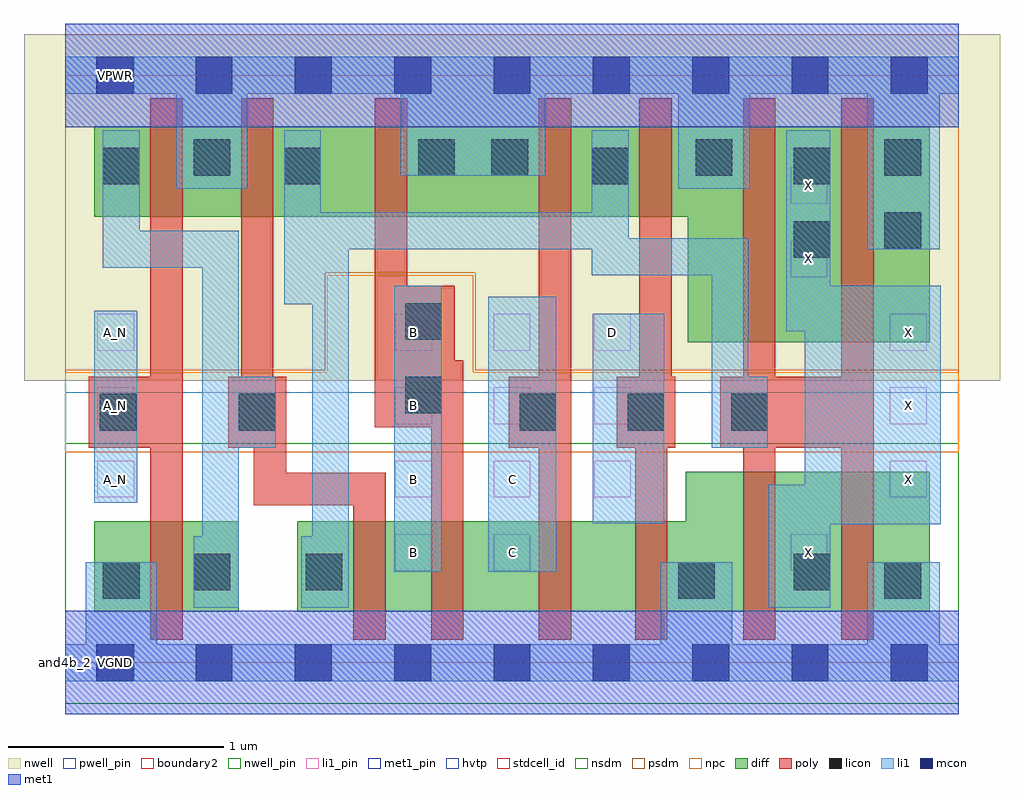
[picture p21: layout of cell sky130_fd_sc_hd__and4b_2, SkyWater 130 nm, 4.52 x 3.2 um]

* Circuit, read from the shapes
.subckt sky130_fd_sc_hd__and4b_2 A_N B C D VGND VNB VPB VPWR X
XM1 n1 A_N VGND VNB sky130_fd_pr__nfet_01v8 w=0.42 l=0.15
XM2 n2 n1 n3 VNB sky130_fd_pr__nfet_01v8 w=0.42 l=0.15
XM3 n4 B n2 VNB sky130_fd_pr__nfet_01v8 w=0.42 l=0.15
XM4 n5 C n4 VNB sky130_fd_pr__nfet_01v8 w=0.42 l=0.15
XM5 VGND D n5 VNB sky130_fd_pr__nfet_01v8 w=0.42 l=0.15
XM6 X n3 VGND VNB sky130_fd_pr__nfet_01v8 w=0.65 l=0.15 m=2
XM7 VPWR A_N n1 VPB sky130_fd_pr__pfet_01v8_hvt w=0.42 l=0.15
XM8 n3 n1 VPWR VPB sky130_fd_pr__pfet_01v8_hvt w=0.42 l=0.15
XM9 VPWR B n3 VPB sky130_fd_pr__pfet_01v8_hvt w=0.42 l=0.15
XM10 n3 C VPWR VPB sky130_fd_pr__pfet_01v8_hvt w=0.42 l=0.15
XM11 VPWR D n3 VPB sky130_fd_pr__pfet_01v8_hvt w=0.42 l=0.15
XM12 X n3 VPWR VPB sky130_fd_pr__pfet_01v8_hvt w=1 l=0.15 m=2
.ends

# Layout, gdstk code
import gdstk
lib = gdstk.Library(unit=1e-6, precision=1e-09)
def R(c, l, rs):  # rectangles x0, y0, x1, y1
    for r in rs: c.add(gdstk.rectangle(r[:2], r[2:], *l))
def A(c, l, x, y, w, h, nx, ny, dx, dy):  # array of equal rectangles
    R(c, l, [(x+i*dx, y+j*dy, x+i*dx+w, y+j*dy+h) for i in range(nx) for j in range(ny)])
def P(c, l, *ps):  # polygons
    for p in ps: c.add(gdstk.Polygon(p, *l))
nwell_pin = (64, 16)
nwell = (64, 20)
diff = (65, 20)
poly = (66, 20)
licon = (66, 44)
li1_pin = (67, 16)
li1 = (67, 20)
mcon = (67, 44)
met1_pin = (68, 16)
met1 = (68, 20)
hvtp = (78, 44)
stdcell_id = (81, 4)
nsdm = (93, 44)
psdm = (94, 20)
npc = (95, 20)
pwell_pin = (122, 16)
boundary2 = (236, 0)

sky130_fd_sc_hd__and4b_2 = lib.new_cell('sky130_fd_sc_hd__and4b_2')
R(sky130_fd_sc_hd__and4b_2, nwell_pin, [(0.15,2.635,0.32,2.805)])
R(sky130_fd_sc_hd__and4b_2, nwell, [(-0.19,1.305,4.33,2.91)])
R(sky130_fd_sc_hd__and4b_2, diff, [(0.135,0.235,0.805,0.655)])
P(sky130_fd_sc_hd__and4b_2, diff, [(2.885,1.485),(2.885,2.065),(0.135,2.065),(0.135,2.485),(4.005,2.485),(4.005,1.485)],
  [(1.075,0.235),(1.075,0.655),(2.875,0.655),(2.875,0.885),(4.005,0.885),(4.005,0.235)])
P(sky130_fd_sc_hd__and4b_2, poly, [(1.695,0.105),(1.695,1.09),(1.435,1.09),(1.435,2.615),(1.585,2.615),(1.585,1.745),(1.805,1.745),(1.805,1.4),(1.845,1.4),(1.845,0.105)],
  [(2.195,0.105),(2.195,0.995),(2.055,0.995),(2.055,1.325),(2.195,1.325),(2.195,2.615),(2.345,2.615),(2.345,0.105)],
  [(2.64,0.105),(2.64,0.995),(2.555,0.995),(2.555,1.325),(2.66,1.325),(2.66,2.615),(2.81,2.615),(2.81,1.325),(2.825,1.325),(2.825,0.995),(2.79,0.995),(2.79,0.105)],
  [(3.14,0.105),(3.14,0.995),(3.035,0.995),(3.035,1.325),(3.14,1.325),(3.14,2.615),(3.29,2.615),(3.29,1.325),(3.595,1.325),(3.595,2.615),(3.745,2.615),(3.745,0.105),(3.595,0.105),(3.595,0.995),(3.29,0.995),(3.29,0.105)],
  [(0.395,0.105),(0.395,0.995),(0.11,0.995),(0.11,1.325),(0.395,1.325),(0.395,2.615),(0.545,2.615),(0.545,0.105)],
  [(1.335,0.105),(1.335,0.73),(0.875,0.73),(0.875,0.995),(0.755,0.995),(0.755,1.325),(0.815,1.325),(0.815,2.615),(0.965,2.615),(0.965,1.325),(1.025,1.325),(1.025,0.88),(1.485,0.88),(1.485,0.105)])
R(sky130_fd_sc_hd__and4b_2, licon, [(0.175,0.295,0.345,0.465), (2.84,0.295,3.01,0.465), (3.795,0.295,3.965,0.465), (0.595,0.335,0.765,0.505), (1.115,0.335,1.285,0.505), (3.375,0.335,3.545,0.505), (0.16,1.075,0.33,1.245), (0.805,1.075,0.975,1.245), (2.105,1.075,2.275,1.245), (2.605,1.075,2.775,1.245), (3.085,1.075,3.255,1.245), (1.575,1.155,1.745,1.325), (1.575,1.495,1.745,1.665), (3.375,1.875,3.545,2.045), (3.795,1.915,3.965,2.085), (0.175,2.215,0.345,2.385), (1.015,2.215,1.185,2.385), (2.44,2.215,2.61,2.385), (3.375,2.215,3.545,2.385), (0.595,2.255,0.765,2.425), (1.635,2.255,1.805,2.425), (1.975,2.255,2.145,2.425), (2.92,2.255,3.09,2.425), (3.795,2.255,3.965,2.425)])
A(sky130_fd_sc_hd__and4b_2, li1_pin, 1.53, 0.425, 0.17, 0.17, 1, 4, 0, 0.34)
A(sky130_fd_sc_hd__and4b_2, li1_pin, 1.985, 0.425, 0.17, 0.17, 1, 4, 0, 0.34)
A(sky130_fd_sc_hd__and4b_2, li1_pin, 0.15, 0.765, 0.17, 0.17, 1, 3, 0, 0.34)
A(sky130_fd_sc_hd__and4b_2, li1_pin, 2.45, 0.765, 0.17, 0.17, 1, 3, 0, 0.34)
A(sky130_fd_sc_hd__and4b_2, li1_pin, 3.82, 0.765, 0.17, 0.17, 1, 3, 0, 0.34)
R(sky130_fd_sc_hd__and4b_2, li1_pin, [(3.36,0.425,3.53,0.595), (3.36,1.785,3.53,1.955), (3.36,2.125,3.53,2.295)])
R(sky130_fd_sc_hd__and4b_2, li1, [(1.525,0.42,1.745,1.745), (1.96,0.42,2.275,1.695), (2.445,0.645,2.775,1.615), (0.135,0.74,0.335,1.63)])
P(sky130_fd_sc_hd__and4b_2, li1, [(1.095,0.255),(1.095,0.585),(1.145,0.585),(1.145,1.66),(1.015,1.66),(1.015,2.465),(1.185,2.465),(1.185,2.085),(2.44,2.085),(2.44,2.465),(2.61,2.465),(2.61,1.965),(3.165,1.965),(3.165,1.325),(3.255,1.325),(3.255,0.995),(2.995,0.995),(2.995,1.795),(2.44,1.795),(2.44,1.915),(1.315,1.915),(1.315,0.255)],
  [(3.26,0.255),(3.26,0.825),(3.425,0.825),(3.425,1.535),(3.34,1.535),(3.34,2.465),(3.545,2.465),(3.545,1.745),(4.055,1.745),(4.055,0.64),(3.545,0.64),(3.545,0.255)],
  [(3.715,1.915),(3.715,2.635),(3.17,2.635),(3.17,2.195),(2.84,2.195),(2.84,2.635),(2.225,2.635),(2.225,2.255),(1.555,2.255),(1.555,2.635),(0.845,2.635),(0.845,2.195),(0.515,2.195),(0.515,2.635),(0,2.635),(0,2.805),(4.14,2.805),(4.14,2.635),(4.05,2.635),(4.05,1.915)],
  [(0.595,0.255),(0.595,0.585),(0.635,0.585),(0.635,1.83),(0.175,1.83),(0.175,2.465),(0.345,2.465),(0.345,2),(0.805,2),(0.805,1.325),(0.975,1.325),(0.975,0.995),(0.805,0.995),(0.805,0.255)],
  [(0,-0.085),(0,0.085),(0.095,0.085),(0.095,0.465),(0.425,0.465),(0.425,0.085),(2.76,0.085),(2.76,0.465),(3.09,0.465),(3.09,0.085),(3.715,0.085),(3.715,0.465),(4.05,0.465),(4.05,0.085),(4.14,0.085),(4.14,-0.085)])
A(sky130_fd_sc_hd__and4b_2, mcon, 0.145, -0.085, 0.17, 0.17, 9, 2, 0.46, 2.72)
R(sky130_fd_sc_hd__and4b_2, met1_pin, [(0.15,-0.085,0.32,0.085), (0.15,2.635,0.32,2.805)])
R(sky130_fd_sc_hd__and4b_2, hvtp, [(0,1.25,4.14,2.72)])
R(sky130_fd_sc_hd__and4b_2, stdcell_id, [(0,0,4.14,2.72)])
R(sky130_fd_sc_hd__and4b_2, nsdm, [(0,-0.19,4.14,1.015)])
P(sky130_fd_sc_hd__and4b_2, psdm, [(0,1.355),(0,2.91),(4.14,2.91),(4.14,1.355),(1.9,1.355),(1.9,1.805),(1.205,1.805),(1.205,1.355)])
P(sky130_fd_sc_hd__and4b_2, npc, [(0,0.975),(0,1.345),(1.215,1.345),(1.215,1.795),(1.89,1.795),(1.89,1.345),(4.14,1.345),(4.14,0.975)])
R(sky130_fd_sc_hd__and4b_2, pwell_pin, [(0.15,-0.085,0.32,0.085)])
R(sky130_fd_sc_hd__and4b_2, boundary2, [(0,0,4.14,2.72)])
sky130_fd_sc_hd__and4b_2.add(gdstk.FlexPath([(0,2.72),(4.14,2.72)], 0.48, ends="flush", simple_path=True, layer=68, datatype=20))  # met1
sky130_fd_sc_hd__and4b_2.add(gdstk.FlexPath([(0,0),(4.14,0)], 0.48, ends="flush", simple_path=True, layer=68, datatype=20))  # met1
sky130_fd_sc_hd__and4b_2.add(gdstk.Label('VPWR', (0.235,2.72), layer=68, texttype=5))
sky130_fd_sc_hd__and4b_2.add(gdstk.Label('VGND', (0.235,0), layer=68, texttype=5))
sky130_fd_sc_hd__and4b_2.add(gdstk.Label('X', (3.905,0.85), layer=67, texttype=5))
sky130_fd_sc_hd__and4b_2.add(gdstk.Label('X', (3.905,1.19), layer=67, texttype=5))
sky130_fd_sc_hd__and4b_2.add(gdstk.Label('X', (3.905,1.53), layer=67, texttype=5))
sky130_fd_sc_hd__and4b_2.add(gdstk.Label('A_N', (0.235,1.53), layer=67, texttype=5))
sky130_fd_sc_hd__and4b_2.add(gdstk.Label('X', (3.445,0.51), layer=67, texttype=5))
sky130_fd_sc_hd__and4b_2.add(gdstk.Label('X', (3.445,1.87), layer=67, texttype=5))
sky130_fd_sc_hd__and4b_2.add(gdstk.Label('X', (3.445,2.21), layer=67, texttype=5))
sky130_fd_sc_hd__and4b_2.add(gdstk.Label('A_N', (0.235,1.19), layer=67, texttype=5))
sky130_fd_sc_hd__and4b_2.add(gdstk.Label('D', (2.535,1.53), layer=67, texttype=5))
sky130_fd_sc_hd__and4b_2.add(gdstk.Label('C', (2.07,0.51), layer=67, texttype=5))
sky130_fd_sc_hd__and4b_2.add(gdstk.Label('C', (2.07,0.85), layer=67, texttype=5))
sky130_fd_sc_hd__and4b_2.add(gdstk.Label('B', (1.615,0.51), layer=67, texttype=5))
sky130_fd_sc_hd__and4b_2.add(gdstk.Label('B', (1.615,0.85), layer=67, texttype=5))
sky130_fd_sc_hd__and4b_2.add(gdstk.Label('B', (1.615,1.19), layer=67, texttype=5))
sky130_fd_sc_hd__and4b_2.add(gdstk.Label('B', (1.615,1.53), layer=67, texttype=5))
sky130_fd_sc_hd__and4b_2.add(gdstk.Label('A_N', (0.235,0.85), layer=67, texttype=5))
sky130_fd_sc_hd__and4b_2.add(gdstk.Label('VNB', (0.235,0), layer=64, texttype=59))
sky130_fd_sc_hd__and4b_2.add(gdstk.Label('VPB', (0.235,2.72), layer=64, texttype=5))
sky130_fd_sc_hd__and4b_2.add(gdstk.Label('and4b_2', (0,0), layer=83, texttype=44))

lib.write_gds('sky130_fd_sc_hd__and4b_2.gds')
